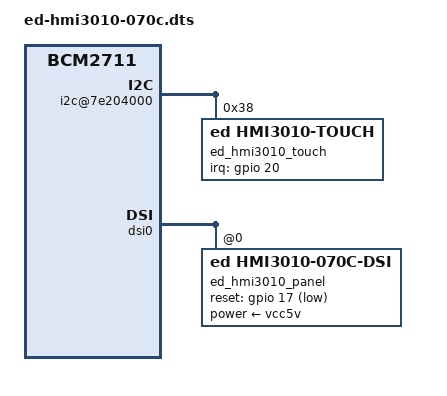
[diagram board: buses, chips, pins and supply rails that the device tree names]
/*
 * ED-HMI3010-070C DSI panel overlay (template)
 *
 * This is a template Device Tree overlay for the ED-HMI3010-070C-DSI panel.
 * It may require edits to match the panel timings, GPIOs and backlight controls
 * for your hardware. Use `dtc -I dts -O dtb -o <name>.dtbo <name>.dts` to compile.
 *
 * If you're unsure about the settings, copy this file into your AOSP device
 * tree and adapt it, or open an issue with the panel vendor for the correct DTS.
 */

/dts-v1/;
/plugin/;

/ {
    compatible = "brcm,bcm2711";

    fragment@0 {
        target-path = "/soc/i2c@7e204000"; /* adjust target as needed */
        __overlay__ {
            /* Example: touch controller on i2c - adjust if panel uses SPI */
            ed_hmi3010_touch: ed_hmi3010_touch@38 {
                compatible = "ed,hmi3010-touch";
                reg = <0x38>;
                interrupt-parent = <&gpio>;
                interrupts = <20 IRQ_TYPE_LEVEL_LOW>; /* adjust GPIO/IRQ */
            };
        };
    };

    fragment@1 {
        target = <&dsi0>;
        __overlay__ {
            ed_hmi3010_panel: panel@0 {
                compatible = "ed,hmi3010-070c-dsi";
                /* Panel-specific properties: timings, bus-width, lane settings */
                reset-gpios = <&gpio 17 GPIO_ACTIVE_LOW>; /* example */
                power-supply = <&vcc5v>;
                status = "okay";
                /* Add required timings and 'panel-timing' nodes here */
            };
        };
    };
};
